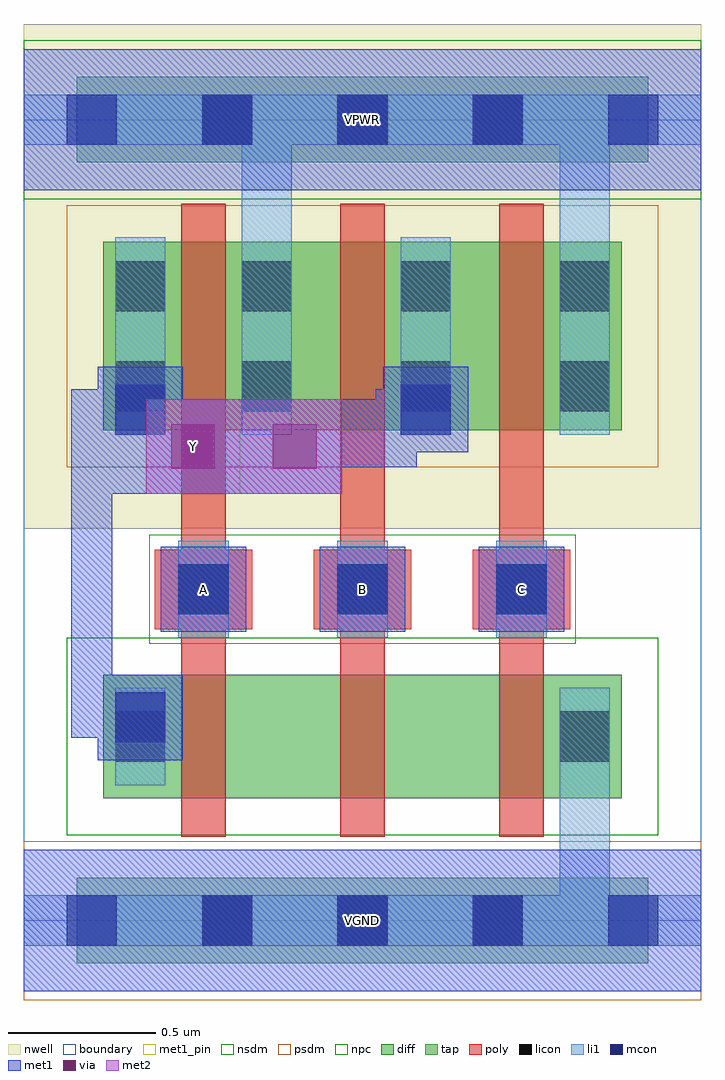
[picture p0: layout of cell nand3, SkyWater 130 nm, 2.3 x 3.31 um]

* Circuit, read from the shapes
.subckt nand3 A B C VGND VPWR Y
XM1 n1 A Y VGND sky130_fd_pr__nfet_01v8 w=0.42 l=0.15
XM2 n2 B n1 VGND sky130_fd_pr__nfet_01v8 w=0.42 l=0.15
XM3 VGND C n2 VGND sky130_fd_pr__nfet_01v8 w=0.42 l=0.15
XM4 VPWR A Y VPWR sky130_fd_pr__pfet_01v8 w=0.64 l=0.15
XM5 Y B VPWR VPWR sky130_fd_pr__pfet_01v8 w=0.64 l=0.15
XM6 VPWR C Y VPWR sky130_fd_pr__pfet_01v8 w=0.64 l=0.15
.ends

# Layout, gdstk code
import gdstk
lib = gdstk.Library(unit=1e-6, precision=1e-09)
def R(c, l, rs):  # rectangles x0, y0, x1, y1
    for r in rs: c.add(gdstk.rectangle(r[:2], r[2:], *l))
def A(c, l, x, y, w, h, nx, ny, dx, dy):  # array of equal rectangles
    R(c, l, [(x+i*dx, y+j*dy, x+i*dx+w, y+j*dy+h) for i in range(nx) for j in range(ny)])
nwell = (64, 20)
diff = (65, 20)
tap = (65, 44)
poly = (66, 20)
licon = (66, 44)
li1 = (67, 20)
mcon = (67, 44)
met1_pin = (68, 16)
met1 = (68, 20)
via = (68, 44)
met2 = (69, 20)
nsdm = (93, 44)
psdm = (94, 20)
npc = (95, 20)
boundary = (235, 4)

nand3 = lib.new_cell('nand3')
R(nand3, nwell, [(0,1.33,2.3,3.045)])
R(nand3, diff, [(0.27,0.415,2.03,0.835), (0.27,1.665,2.03,2.305)])
R(nand3, tap, [(0.18,-0.145,2.12,0.145), (0.18,2.575,2.12,2.865)])
A(nand3, poly, 0.535, 0.285, 0.15, 2.15, 3, 1, 0.54, 0)
A(nand3, poly, 0.445, 0.99, 0.33, 0.27, 3, 1, 0.54, 0)
A(nand3, licon, 0.605, -0.085, 0.17, 0.17, 3, 2, 0.46, 2.72)
A(nand3, licon, 0.525, 1.04, 0.17, 0.17, 3, 1, 0.54, 0)
A(nand3, licon, 0.74, 1.73, 0.17, 0.17, 3, 2, 0.54, 0.34)
R(nand3, licon, [(0.31,0.54,0.48,0.71), (1.82,0.54,1.99,0.71), (0.31,1.73,0.48,1.9), (0.31,2.07,0.48,2.24)])
A(nand3, li1, 0.525, 0.96, 0.17, 0.33, 3, 1, 0.54, 0)
A(nand3, li1, 0.74, 1.65, 0.17, 0.67, 3, 1, 0.54, 0)
R(nand3, li1, [(0,-0.085,2.3,0.085), (1.82,-0.085,1.99,0.79), (0.31,0.46,0.48,0.79), (1.82,0.46,1.99,0.79), (0.31,1.65,0.48,2.32), (0.74,1.65,0.91,2.805), (1.82,1.65,1.99,2.805), (0,2.635,2.3,2.805)])
A(nand3, mcon, 0.145, -0.085, 0.17, 0.17, 5, 2, 0.46, 2.72)
A(nand3, mcon, 0.525, 1.04, 0.17, 0.17, 3, 1, 0.54, 0)
R(nand3, mcon, [(0.31,0.605,0.48,0.775), (0.31,1.65,0.48,1.82), (1.28,1.65,1.45,1.82)])
A(nand3, met1_pin, 0.465, 0.98, 0.29, 0.29, 3, 1, 0.54, 0)
R(nand3, met1_pin, [(0,-0.24,2.3,0.24), (0.415,1.45,0.735,1.77), (0,2.48,2.3,2.96)])
A(nand3, met1, 0.465, 0.98, 0.29, 0.29, 3, 1, 0.54, 0)
R(nand3, met1, [(0,-0.24,2.3,0.24), (0.25,0.545,0.54,0.835), (0.16,0.62,0.465,0.76), (0.16,0.62,0.3,1.68), (0.3,1.45,0.415,1.68), (0.415,1.45,0.735,1.77), (0.735,1.45,0.76,1.77), (0.76,1.45,1.08,1.77), (0.16,1.54,0.3,1.805), (0.16,1.54,0.645,1.68), (0.3,1.54,0.415,1.77), (0.645,1.54,0.76,1.68), (0.735,1.54,0.85,1.68), (0.85,1.54,1.335,1.68), (1.08,1.54,1.195,1.77), (1.195,1.54,1.335,1.805), (0.25,1.59,0.54,1.88), (1.22,1.59,1.51,1.88), (0.16,1.665,0.465,1.805), (1.08,1.665,1.195,1.77), (1.195,1.665,1.435,1.805), (0,2.48,2.3,2.96)])
R(nand3, via, [(0.5,1.535,0.65,1.685), (0.845,1.535,0.995,1.685)])
R(nand3, met2, [(0.415,1.45,0.735,1.77), (0.735,1.45,0.76,1.77), (0.76,1.45,1.08,1.77), (0.505,1.54,0.99,1.68)])
R(nand3, nsdm, [(0.145,0.29,2.155,0.96), (0,2.45,2.3,2.99)])
R(nand3, psdm, [(0,-0.27,2.3,0.27), (0.145,1.54,2.155,2.43)])
R(nand3, npc, [(0.425,0.94,1.875,1.31)])
R(nand3, boundary, [(0,0,2.3,2.72)])
nand3.add(gdstk.Label('A', (0.61,1.125), layer=68, texttype=5))
nand3.add(gdstk.Label('B', (1.15,1.125), layer=68, texttype=5))
nand3.add(gdstk.Label('C', (1.69,1.125), layer=68, texttype=5))
nand3.add(gdstk.Label('Y', (0.575,1.61), layer=68, texttype=5))
nand3.add(gdstk.Label('VPWR', (1.15,2.72), layer=68, texttype=5))
nand3.add(gdstk.Label('VGND', (1.15,0), layer=68, texttype=5))
nand3.add(gdstk.Label('A', (0.61,1.125), layer=68, texttype=16))
nand3.add(gdstk.Label('B', (1.15,1.125), layer=68, texttype=16))
nand3.add(gdstk.Label('C', (1.69,1.125), layer=68, texttype=16))
nand3.add(gdstk.Label('Y', (0.575,1.61), layer=68, texttype=16))
nand3.add(gdstk.Label('VPWR', (1.15,2.72), layer=68, texttype=16))
nand3.add(gdstk.Label('VGND', (1.15,0), layer=68, texttype=16))

lib.write_gds('nand3.gds')
